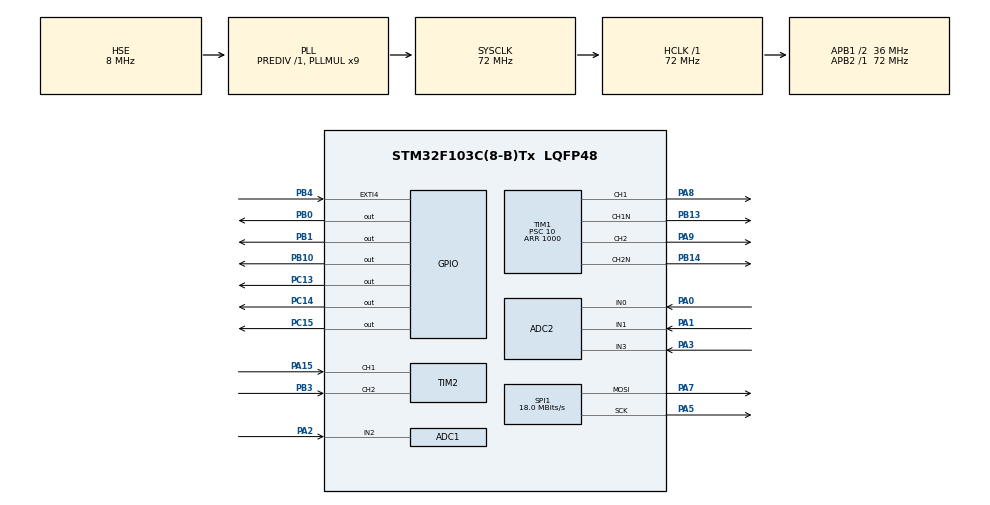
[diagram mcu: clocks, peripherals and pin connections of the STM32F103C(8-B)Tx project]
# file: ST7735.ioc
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ADC1.Channel-0\#ChannelRegularConversion=ADC_CHANNEL_2
ADC1.ExternalTrigConv=ADC_EXTERNALTRIGCONV_T1_CC3
ADC1.NbrOfConversionFlag=1
ADC1.Rank-0\#ChannelRegularConversion=1
ADC1.SamplingTime-0\#ChannelRegularConversion=ADC_SAMPLETIME_1CYCLE_5
ADC1.master=1
ADC2.Channel-0\#ChannelRegularConversion=ADC_CHANNEL_0
ADC2.Channel-1\#ChannelRegularConversion=ADC_CHANNEL_1
ADC2.Channel-2\#ChannelRegularConversion=ADC_CHANNEL_3
ADC2.ContinuousConvMode=DISABLE
ADC2.NbrOfConversion=3
ADC2.NbrOfConversionFlag=1
ADC2.Rank-0\#ChannelRegularConversion=1
ADC2.Rank-1\#ChannelRegularConversion=2
ADC2.Rank-2\#ChannelRegularConversion=3
ADC2.SamplingTime-0\#ChannelRegularConversion=ADC_SAMPLETIME_71CYCLES_5
ADC2.SamplingTime-1\#ChannelRegularConversion=ADC_SAMPLETIME_71CYCLES_5
ADC2.SamplingTime-2\#ChannelRegularConversion=ADC_SAMPLETIME_71CYCLES_5
Dma.ADC1.1.Direction=DMA_PERIPH_TO_MEMORY
Dma.ADC1.1.Instance=DMA1_Channel1
Dma.ADC1.1.MemDataAlignment=DMA_MDATAALIGN_HALFWORD
Dma.ADC1.1.MemInc=DMA_MINC_ENABLE
Dma.ADC1.1.Mode=DMA_CIRCULAR
Dma.ADC1.1.PeriphDataAlignment=DMA_PDATAALIGN_HALFWORD
Dma.ADC1.1.PeriphInc=DMA_PINC_DISABLE
Dma.ADC1.1.Priority=DMA_PRIORITY_LOW
Dma.Request0=SPI1_TX
Dma.Request1=ADC1
Dma.SPI1_TX.0.Direction=DMA_MEMORY_TO_PERIPH
Dma.SPI1_TX.0.Instance=DMA1_Channel3
Dma.SPI1_TX.0.MemDataAlignment=DMA_MDATAALIGN_HALFWORD
Dma.SPI1_TX.0.MemInc=DMA_MINC_ENABLE
Dma.SPI1_TX.0.Mode=DMA_NORMAL
Dma.SPI1_TX.0.PeriphDataAlignment=DMA_PDATAALIGN_HALFWORD
Dma.SPI1_TX.0.PeriphInc=DMA_PINC_DISABLE
Dma.SPI1_TX.0.Priority=DMA_PRIORITY_LOW
Mcu.Family=STM32F1
Mcu.Name=STM32F103C(8-B)Tx
Mcu.Package=LQFP48
NVIC.DMA1_Channel1_IRQn=true\:0\:0\:false\:false\:true\:false\:true\:true
NVIC.DMA1_Channel3_IRQn=true\:0\:0\:false\:false\:true\:false\:true\:true
NVIC.EXTI4_IRQn=true\:0\:0\:false\:false\:true\:true\:true\:true
NVIC.PriorityGroup=NVIC_PRIORITYGROUP_4
PA0-WKUP.Signal=ADCx_IN0
PA1.Signal=ADCx_IN1
PA13.Mode=Serial_Wire
PA13.Signal=SYS_JTMS-SWDIO
PA14.Mode=Serial_Wire
PA14.Signal=SYS_JTCK-SWCLK
PA15.Signal=S_TIM2_CH1_ETR
PA2.Signal=ADCx_IN2
PA3.Signal=ADCx_IN3
PA5.Mode=TX_Only_Simplex_Unidirect_Master
PA5.Signal=SPI1_SCK
PA7.Mode=TX_Only_Simplex_Unidirect_Master
PA7.Signal=SPI1_MOSI
PA8.Signal=S_TIM1_CH1
PA9.Signal=S_TIM1_CH2
PB0.Signal=GPIO_Output
PB1.Signal=GPIO_Output
PB10.Signal=GPIO_Output
PB13.Mode=PWM Generation1 CH1 CH1N
PB13.Signal=TIM1_CH1N
PB14.Mode=PWM Generation2 CH2 CH2N
PB14.Signal=TIM1_CH2N
PB3.Signal=S_TIM2_CH2
PB4.Signal=GPXTI4
PC13-TAMPER-RTC.Signal=GPIO_Output
PC14-OSC32_IN.Signal=GPIO_Output
PC15-OSC32_OUT.Signal=GPIO_Output
PD0-OSC_IN.Mode=HSE-External-Oscillator
PD0-OSC_IN.Signal=RCC_OSC_IN
PD1-OSC_OUT.Mode=HSE-External-Oscillator
PD1-OSC_OUT.Signal=RCC_OSC_OUT
ProjectManager.HeapSize=0x200
ProjectManager.StackSize=0x400
ProjectManager.TargetToolchain=MDK-ARM V5.32
RCC.ADCPresc=RCC_ADCPCLK2_DIV6
RCC.AHBFreq_Value=72000000
RCC.APB1CLKDivider=RCC_HCLK_DIV2
RCC.APB1Freq_Value=36000000
RCC.APB1TimFreq_Value=72000000
RCC.APB2Freq_Value=72000000
RCC.APB2TimFreq_Value=72000000
RCC.HCLKFreq_Value=72000000
RCC.PLLMUL=RCC_PLL_MUL9
RCC.PLLSourceVirtual=RCC_PLLSOURCE_HSE
RCC.SYSCLKFreq_VALUE=72000000
RCC.SYSCLKSource=RCC_SYSCLKSOURCE_PLLCLK
RCC.USBFreq_Value=72000000
SH.ADCx_IN0.0=ADC2_IN0,IN0
SH.ADCx_IN1.0=ADC2_IN1,IN1
SH.ADCx_IN2.0=ADC1_IN2,IN2
SH.ADCx_IN3.0=ADC2_IN3,IN3
SH.S_TIM1_CH1.0=TIM1_CH1,PWM Generation1 CH1 CH1N
SH.S_TIM1_CH2.0=TIM1_CH2,PWM Generation2 CH2 CH2N
SH.S_TIM2_CH1_ETR.0=TIM2_CH1,Encoder_Interface
SH.S_TIM2_CH2.0=TIM2_CH2,Encoder_Interface
SPI1.BaudRatePrescaler=SPI_BAUDRATEPRESCALER_4
SPI1.CalculateBaudRate=18.0 MBits/s
SPI1.DataSize=SPI_DATASIZE_8BIT
SPI1.Direction=SPI_DIRECTION_2LINES
SPI1.Mode=SPI_MODE_MASTER
SPI1.VirtualType=VM_MASTER
TIM1.Channel-PWM\ Generation1\ CH1\ CH1N=TIM_CHANNEL_1
TIM1.Channel-PWM\ Generation2\ CH2\ CH2N=TIM_CHANNEL_2
TIM1.Channel-PWM\ Generation3\ No\ Output=TIM_CHANNEL_3
TIM1.DeadTime=35
TIM1.OCMode_PWM-PWM\ Generation3\ No\ Output=TIM_OCMODE_PWM2
TIM1.Period=1000
TIM1.Prescaler=10
TIM1.Pulse-PWM\ Generation3\ No\ Output=10
TIM1.TIM_MasterOutputTrigger=TIM_TRGO_OC3REF
TIM2.EncoderMode=TIM_ENCODERMODE_TI12
VP_TIM1_VS_ClockSourceINT.Mode=Internal
VP_TIM1_VS_no_output3.Mode=PWM Generation3 No Output
board=custom

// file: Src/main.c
/* USER CODE BEGIN Header */
/**
  ******************************************************************************
  * @file           : main.c
  * @brief          : Main program body
  ******************************************************************************
  * @attention
  *
  * <h2><center>&copy; Copyright (c) 2020 STMicroelectronics.
  * All rights reserved.</center></h2>
  *
  * This software component is licensed by ST under BSD 3-Clause license,
  * the "License"; You may not use this file except in compliance with the
  * License. You may obtain a copy of the License at:
  *                        opensource.org/licenses/BSD-3-Clause
  *
  ******************************************************************************
  */
/* USER CODE END Header */
#include "main.h"

/* USER CODE BEGIN Includes */
#include <string.h>
#include "ST7735_SPI.h"
#include "fonts.h"
#include <stdio.h>
#include <math.h>
/* USER CODE END Includes */

ADC_HandleTypeDef hadc1;
ADC_HandleTypeDef hadc2;
DMA_HandleTypeDef hdma_adc1;

SPI_HandleTypeDef hspi1;
DMA_HandleTypeDef hdma_spi1_tx;

TIM_HandleTypeDef htim1;
TIM_HandleTypeDef htim2;

void SystemClock_Config(void);
static void MX_GPIO_Init(void);
static void MX_DMA_Init(void);
static void MX_SPI1_Init(void);
static void MX_ADC1_Init(void);
static void MX_ADC2_Init(void);
static void MX_TIM1_Init(void);
static void MX_TIM2_Init(void);

/* USER CODE BEGIN 0 */
#define ADC_MAX             4095.0f
#define VREF                3.3f

#define VIN_DIV_GAIN        11.0f
#define VOUT_DIV_GAIN       11.0f

#define CURRENT_GAIN        48.5f // 1.884
#define SHUNT_R             0.01f
#define CURRENT_OFFSET_V    0.0f

#define NTC_R_PULLUP        10000.0f
#define NTC_R0              3000.0f
#define NTC_BETA            3950.0f
#define NTC_T0_K            298.15f

#define SET_V_MIN           1.0f
#define SET_V_MAX           30.0f
#define SET_V_STEP          0.1f

#define ENC_COUNT_PER_STEP  4

#define BUCK_DUTY_MIN       0.02f
#define BUCK_DUTY_MAX       0.95f

typedef struct
{
    float vin;
    float vout;
    float current;
    float temp;
    float vset;
    uint8_t buck_on;
} BuckData_t;
static BuckData_t buck =
{
    .vin = 0,
    .vout = 0,
    .current = 0,
    .temp = 0,
    .vset = 5.0f,
    .buck_on = 0
};
static volatile uint16_t adc_current_raw = 0;
static volatile uint8_t adc_current_ready = 0;

static int16_t enc_last = 0;
static int32_t enc_acc = 0;

static uint32_t t_adc = 0;
static uint32_t t_lcd = 0;
static uint8_t buck_pwm_running = 0;
#define ADC1_DMA_LEN 32

static uint16_t adc1_dma_buf[ADC1_DMA_LEN];

static volatile uint8_t adc1_dma_ready = 0;
static void fmt_float(char *buf, float value, uint8_t dec, const char *unit)
{
    int32_t scale = 1;

    for(uint8_t i = 0; i < dec; i++)
        scale *= 10;

    int32_t v = (int32_t)(value * scale + (value >= 0 ? 0.5f : -0.5f));

    if(v < 0)
    {
        v = -v;
        if(dec == 1)
            sprintf(buf, "-%ld.%01ld%s", v / scale, v % scale, unit);
        else
            sprintf(buf, "-%ld.%02ld%s", v / scale, v % scale, unit);
    }
    else
    {
        if(dec == 1)
            sprintf(buf, "%ld.%01ld%s", v / scale, v % scale, unit);
        else
            sprintf(buf, "%ld.%02ld%s", v / scale, v % scale, unit);
    }
}
static uint16_t ADC_Read_Channel(ADC_HandleTypeDef *hadc, uint32_t channel)
{
    ADC_ChannelConfTypeDef sConfig = {0};

    sConfig.Channel = channel;
    sConfig.Rank = ADC_REGULAR_RANK_1;
    sConfig.SamplingTime = ADC_SAMPLETIME_239CYCLES_5;

    HAL_ADC_ConfigChannel(hadc, &sConfig);

    HAL_ADC_Start(hadc);
    HAL_ADC_PollForConversion(hadc, 10);
		uint32_t sum = 0;

    for(uint8_t i = 0; i < 5; i++)
    {
			sum += HAL_ADC_GetValue(hadc);
		}
    HAL_ADC_Stop(hadc);

    return (uint16_t)(sum / 5);
}

static float ADC_To_Voltage(uint16_t adc)
{
    return ((float)adc * VREF) / ADC_MAX;
}

static float Read_Vout(void)
{
    uint16_t raw = ADC_Read_Channel(&hadc2, ADC_CHANNEL_0);
    return ADC_To_Voltage(raw) * VOUT_DIV_GAIN;
}

static float Read_Vin(void)
{
    uint16_t raw = ADC_Read_Channel(&hadc2, ADC_CHANNEL_1);
    return ADC_To_Voltage(raw) * VIN_DIV_GAIN;
}

static float Read_NTC_Temp(void)
{
    uint16_t raw = ADC_Read_Channel(&hadc2, ADC_CHANNEL_3);

    float v = raw * 3.3f / 4095.0f;

    if(v < 0.01f) v = 0.01f;
    if(v > 3.29f) v = 3.29f;

    float r_ntc = 10000.0f * v / (3.3f - v);

    float temp_k = 1.0f /
    (
        (1.0f / 298.15f) +
        (logf(r_ntc / 10000.0f) / 3950.0f)
    );

    return temp_k - 273.15f;
}
static float Read_Current_From_DMA(void)
{
    uint32_t sum = 0;

    for(uint8_t i = 0; i < ADC1_DMA_LEN; i++)
    {
        sum += adc1_dma_buf[i];
    }

    float adc_avg = (float)sum / ADC1_DMA_LEN;
    float v_adc = adc_avg * 3.3f / 4095.0f;

    float current = (v_adc - CURRENT_OFFSET_V) / CURRENT_GAIN / SHUNT_R;

    if(current < 0.0f)
        current = 0.0f;

    return current;
}
void HAL_ADC_ConvHalfCpltCallback(ADC_HandleTypeDef *hadc)
{
    if(hadc->Instance == ADC1)
    {
        adc1_dma_ready = 1;
    }
}

void HAL_ADC_ConvCpltCallback(ADC_HandleTypeDef *hadc)
{
    if(hadc->Instance == ADC1)
    {
        adc1_dma_ready = 1;
    }
}
static float Read_Current_From_ADC1(void)
{
    float v_adc = ADC_To_Voltage(adc_current_raw);
    float v_shunt = v_adc / CURRENT_GAIN;
    return v_shunt / SHUNT_R;
}
static void Encoder_Update(void)
{
    int16_t enc_now = (int16_t)__HAL_TIM_GET_COUNTER(&htim2);
    int16_t diff = enc_now - enc_last;

    enc_last = enc_now;

    enc_acc += diff;

    while(enc_acc >= ENC_COUNT_PER_STEP)
    {
        enc_acc -= ENC_COUNT_PER_STEP;
        buck.vset += SET_V_STEP;

        if(buck.vset > SET_V_MAX)
            buck.vset = SET_V_MAX;
    }

    while(enc_acc <= -ENC_COUNT_PER_STEP)
    {
        enc_acc += ENC_COUNT_PER_STEP;
        buck.vset -= SET_V_STEP;

        if(buck.vset < SET_V_MIN)
            buck.vset = SET_V_MIN;
    }
}
void HAL_GPIO_EXTI_Callback(uint16_t GPIO_Pin)
{
    if(GPIO_Pin == GPIO_PIN_4)
    {
        buck.buck_on = !buck.buck_on;
    }
}
static void Buck_PWM_Start(void)
{
    if(buck_pwm_running)
        return;

    HAL_TIM_PWM_Start(&htim1, TIM_CHANNEL_1);
    HAL_TIMEx_PWMN_Start(&htim1, TIM_CHANNEL_1);

    buck_pwm_running = 1;
}

static void Buck_PWM_Stop(void)
{
    if(!buck_pwm_running)
        return;

    HAL_TIM_PWM_Stop(&htim1, TIM_CHANNEL_1);
    HAL_TIMEx_PWMN_Stop(&htim1, TIM_CHANNEL_1);

    buck_pwm_running = 0;
}

static void Boost_PWM_Stop(void)
{
    HAL_TIM_PWM_Stop(&htim1, TIM_CHANNEL_2);
    HAL_TIMEx_PWMN_Stop(&htim1, TIM_CHANNEL_2);

    __HAL_TIM_SET_COMPARE(&htim1, TIM_CHANNEL_2, 0);
}

static void Buck_SetDuty(float duty)
{
    if(duty < BUCK_DUTY_MIN)
        duty = BUCK_DUTY_MIN;

    if(duty > BUCK_DUTY_MAX)
        duty = BUCK_DUTY_MAX;

    uint32_t ccr = (uint32_t)(duty * (float)(999 + 1));

    __HAL_TIM_SET_COMPARE(&htim1, TIM_CHANNEL_1, ccr);
}
float duty = 0;
static void Buck_Control_OpenLoop(void)
{
    if(!buck.buck_on)
    {
				Buck_SetDuty(0);
        Buck_PWM_Stop();
        return;
    }

    if(buck.vin < 2.0f)
    {
        Buck_PWM_Stop();
        buck.buck_on = 0;
        return;
    }

    if(buck.current > 3.0f || buck.temp > 80.0f)
    {
        Buck_PWM_Stop();
        buck.buck_on = 0;
        return;
    }

    duty = buck.vset / buck.vin;

    Buck_SetDuty(duty);
}
static void Buck_Control_TestPWM(void)
{
    Buck_PWM_Start();
    Buck_SetDuty(0.30f);
}
static void LCD_DrawBase(void)
{
    ST7735_FillScreen(ST7735_BLACK);

    ST7735_WriteString(4, 2, "BUCK MODE", Font_7x10, ST7735_YELLOW, ST7735_BLACK);

    drawHline(0, 15, 160, ST7735_BLUE);

    ST7735_WriteString(4, 22, "Vin :", Font_7x10, ST7735_WHITE, ST7735_BLACK);
    ST7735_WriteString(4, 40, "Vout:", Font_7x10, ST7735_WHITE, ST7735_BLACK);
    ST7735_WriteString(4, 58, "Iout:", Font_7x10, ST7735_WHITE, ST7735_BLACK);
    ST7735_WriteString(4, 76, "Temp:", Font_7x10, ST7735_WHITE, ST7735_BLACK);
    ST7735_WriteString(4, 94, "Set :", Font_7x10, ST7735_WHITE, ST7735_BLACK);
    ST7735_WriteString(4, 112, "OUT :", Font_7x10, ST7735_WHITE, ST7735_BLACK);
}

static void LCD_PrintValue(uint16_t x, uint16_t y, char *str, uint16_t color)
{
    ST7735_FillRectangle(x, y, 90, 12, ST7735_BLACK);
    ST7735_WriteString(x, y, str, Font_7x10, color, ST7735_BLACK);
}

static void LCD_Update(void)
{
    char buf[24];

    fmt_float(buf, buck.vin, 2, " V");
    LCD_PrintValue(55, 22, buf, ST7735_CYAN);

    fmt_float(buf, buck.vout, 2, " V");
    LCD_PrintValue(55, 40, buf, ST7735_GREEN);

    fmt_float(buf, buck.current, 2, " A");
    LCD_PrintValue(55, 58, buf, ST7735_YELLOW);

    fmt_float(buf, buck.temp, 1, " C");
    LCD_PrintValue(55, 76, buf, ST7735_MAGENTA);

    fmt_float(buf, buck.vset, 1, " V");
    LCD_PrintValue(55, 94, buf, ST7735_WHITE);

    ST7735_FillRectangle(55, 112, 90, 12, ST7735_BLACK);

    if(buck.buck_on)
        ST7735_WriteString(55, 112, "ON", Font_7x10, ST7735_GREEN, ST7735_BLACK);
    else
        ST7735_WriteString(55, 112, "OFF", Font_7x10, ST7735_RED, ST7735_BLACK);
}
void Buck_UI_Init(void)
{

    HAL_ADCEx_Calibration_Start(&hadc1);
    HAL_ADCEx_Calibration_Start(&hadc2);

    HAL_TIM_Encoder_Start(&htim2, TIM_CHANNEL_ALL);

    enc_last = (int16_t)__HAL_TIM_GET_COUNTER(&htim2);

    Boost_PWM_Stop();
    Buck_PWM_Stop();
		HAL_TIM_PWM_Start(&htim1, TIM_CHANNEL_1);
		HAL_TIMEx_PWMN_Start(&htim1, TIM_CHANNEL_1);
    uint32_t arr = __HAL_TIM_GET_AUTORELOAD(&htim1);
    __HAL_TIM_SET_COMPARE(&htim1, TIM_CHANNEL_3, arr / 2);

    HAL_ADC_Start_DMA(&hadc1, (uint32_t*)adc1_dma_buf, ADC1_DMA_LEN);

		HAL_TIM_PWM_Start(&htim1, TIM_CHANNEL_3);

    ST7735_Init();
    ST7735_FillScreen(ST7735_BLACK);

    LCD_DrawBase();
    LCD_Update();

}

void Buck_UI_Loop(void)
{
    Encoder_Update();

    if(HAL_GetTick() - t_adc >= 50)
    {
        t_adc = HAL_GetTick();

        float vin_new = Read_Vin();
        float vout_new = Read_Vout();
        float temp_new = Read_NTC_Temp() + 32.4f;

        buck.vin = buck.vin * 0.8f + vin_new * 0.2f;
        buck.vout = buck.vout * 0.8f + vout_new * 0.2f;
        buck.temp = buck.temp * 0.8f + temp_new * 0.2f;

        if(adc1_dma_ready)
		{
				adc1_dma_ready = 0;

				float cur_new = Read_Current_From_DMA();

				buck.current = buck.current * 0.8f + cur_new * 0.2f;
		}

        Buck_Control_OpenLoop();
    }

    if(HAL_GetTick() - t_lcd >= 200)
    {
        t_lcd = HAL_GetTick();
        LCD_Update();
    }
}
/* USER CODE END 0 */

int main(void)
{

  /* MCU Configuration--------------------------------------------------------*/

  /* Reset of all peripherals, Initializes the Flash interface and the Systick. */
  HAL_Init();

  /* Configure the system clock */
  SystemClock_Config();

  /* Initialize all configured peripherals */
  MX_GPIO_Init();
  MX_DMA_Init();
  MX_SPI1_Init();
  MX_ADC1_Init();
  MX_ADC2_Init();
  MX_TIM1_Init();
  MX_TIM2_Init();
  /* USER CODE BEGIN 2 */
	Buck_UI_Init();
  /* USER CODE END 2 */

  /* Infinite loop */
  while (1)
  {

    /* USER CODE BEGIN 3 */
		Buck_UI_Loop();

  }
  /* USER CODE END 3 */
}

void SystemClock_Config(void)
{
  RCC_OscInitTypeDef RCC_OscInitStruct = {0};
  RCC_ClkInitTypeDef RCC_ClkInitStruct = {0};
  RCC_PeriphCLKInitTypeDef PeriphClkInit = {0};

  /** Initializes the RCC Oscillators according to the specified parameters
  * in the RCC_OscInitTypeDef structure.
  */
  RCC_OscInitStruct.OscillatorType = RCC_OSCILLATORTYPE_HSE;
  RCC_OscInitStruct.HSEState = RCC_HSE_ON;
  RCC_OscInitStruct.HSEPredivValue = RCC_HSE_PREDIV_DIV1;
  RCC_OscInitStruct.HSIState = RCC_HSI_ON;
  RCC_OscInitStruct.PLL.PLLState = RCC_PLL_ON;
  RCC_OscInitStruct.PLL.PLLSource = RCC_PLLSOURCE_HSE;
  RCC_OscInitStruct.PLL.PLLMUL = RCC_PLL_MUL9;
  if (HAL_RCC_OscConfig(&RCC_OscInitStruct) != HAL_OK)
  {
    Error_Handler();
  }

  /** Initializes the CPU, AHB and APB buses clocks
  */
  RCC_ClkInitStruct.ClockType = RCC_CLOCKTYPE_HCLK|RCC_CLOCKTYPE_SYSCLK
                              |RCC_CLOCKTYPE_PCLK1|RCC_CLOCKTYPE_PCLK2;
  RCC_ClkInitStruct.SYSCLKSource = RCC_SYSCLKSOURCE_PLLCLK;
  RCC_ClkInitStruct.AHBCLKDivider = RCC_SYSCLK_DIV1;
  RCC_ClkInitStruct.APB1CLKDivider = RCC_HCLK_DIV2;
  RCC_ClkInitStruct.APB2CLKDivider = RCC_HCLK_DIV1;

  if (HAL_RCC_ClockConfig(&RCC_ClkInitStruct, FLASH_LATENCY_2) != HAL_OK)
  {
    Error_Handler();
  }
  PeriphClkInit.PeriphClockSelection = RCC_PERIPHCLK_ADC;
  PeriphClkInit.AdcClockSelection = RCC_ADCPCLK2_DIV6;
  if (HAL_RCCEx_PeriphCLKConfig(&PeriphClkInit) != HAL_OK)
  {
    Error_Handler();
  }
}

static void MX_ADC1_Init(void)
{

  ADC_ChannelConfTypeDef sConfig = {0};

  /** Common config
  */
  hadc1.Instance = ADC1;
  hadc1.Init.ScanConvMode = ADC_SCAN_DISABLE;
  hadc1.Init.ContinuousConvMode = DISABLE;
  hadc1.Init.DiscontinuousConvMode = DISABLE;
  hadc1.Init.ExternalTrigConv = ADC_EXTERNALTRIGCONV_T1_CC3;
  hadc1.Init.DataAlign = ADC_DATAALIGN_RIGHT;
  hadc1.Init.NbrOfConversion = 1;
  if (HAL_ADC_Init(&hadc1) != HAL_OK)
  {
    Error_Handler();
  }

  /** Configure Regular Channel
  */
  sConfig.Channel = ADC_CHANNEL_2;
  sConfig.Rank = ADC_REGULAR_RANK_1;
  sConfig.SamplingTime = ADC_SAMPLETIME_28CYCLES_5;
  if (HAL_ADC_ConfigChannel(&hadc1, &sConfig) != HAL_OK)
  {
    Error_Handler();
  }

}

static void MX_ADC2_Init(void)
{

  ADC_ChannelConfTypeDef sConfig = {0};

  /** Common config
  */
  hadc2.Instance = ADC2;
  hadc2.Init.ScanConvMode = ADC_SCAN_DISABLE;
  hadc2.Init.ContinuousConvMode = DISABLE;
  hadc2.Init.DiscontinuousConvMode = DISABLE;
  hadc2.Init.ExternalTrigConv = ADC_SOFTWARE_START;
  hadc2.Init.DataAlign = ADC_DATAALIGN_RIGHT;
  hadc2.Init.NbrOfConversion = 1;
  if (HAL_ADC_Init(&hadc2) != HAL_OK)
  {
    Error_Handler();
  }

  /** Configure Regular Channel
  */
  sConfig.Channel = ADC_CHANNEL_0;
  sConfig.Rank = ADC_REGULAR_RANK_1;
  sConfig.SamplingTime = ADC_SAMPLETIME_71CYCLES_5;
  if (HAL_ADC_ConfigChannel(&hadc2, &sConfig) != HAL_OK)
  {
    Error_Handler();
  }

  /** Configure Regular Channel
  */
  sConfig.Channel = ADC_CHANNEL_1;
  sConfig.Rank = ADC_REGULAR_RANK_2;
  if (HAL_ADC_ConfigChannel(&hadc2, &sConfig) != HAL_OK)
  {
    Error_Handler();
  }

  /** Configure Regular Channel
  */
  sConfig.Channel = ADC_CHANNEL_3;
  sConfig.Rank = ADC_REGULAR_RANK_3;
  if (HAL_ADC_ConfigChannel(&hadc2, &sConfig) != HAL_OK)
  {
    Error_Handler();
  }

}

static void MX_SPI1_Init(void)
{

  /* SPI1 parameter configuration*/
  hspi1.Instance = SPI1;
  hspi1.Init.Mode = SPI_MODE_MASTER;
  hspi1.Init.Direction = SPI_DIRECTION_2LINES;
  hspi1.Init.DataSize = SPI_DATASIZE_8BIT;
  hspi1.Init.CLKPolarity = SPI_POLARITY_LOW;
  hspi1.Init.CLKPhase = SPI_PHASE_1EDGE;
  hspi1.Init.NSS = SPI_NSS_SOFT;
  hspi1.Init.BaudRatePrescaler = SPI_BAUDRATEPRESCALER_4;
  hspi1.Init.FirstBit = SPI_FIRSTBIT_MSB;
  hspi1.Init.TIMode = SPI_TIMODE_DISABLE;
  hspi1.Init.CRCCalculation = SPI_CRCCALCULATION_DISABLE;
  hspi1.Init.CRCPolynomial = 10;
  if (HAL_SPI_Init(&hspi1) != HAL_OK)
  {
    Error_Handler();
  }

}

static void MX_TIM1_Init(void)
{

  TIM_ClockConfigTypeDef sClockSourceConfig = {0};
  TIM_MasterConfigTypeDef sMasterConfig = {0};
  TIM_OC_InitTypeDef sConfigOC = {0};
  TIM_BreakDeadTimeConfigTypeDef sBreakDeadTimeConfig = {0};

  htim1.Instance = TIM1;
  htim1.Init.Prescaler = 5;
  htim1.Init.CounterMode = TIM_COUNTERMODE_UP;
  htim1.Init.Period = 1000;
  htim1.Init.ClockDivision = TIM_CLOCKDIVISION_DIV1;
  htim1.Init.RepetitionCounter = 0;
  htim1.Init.AutoReloadPreload = TIM_AUTORELOAD_PRELOAD_DISABLE;
  if (HAL_TIM_Base_Init(&htim1) != HAL_OK)
  {
    Error_Handler();
  }
  sClockSourceConfig.ClockSource = TIM_CLOCKSOURCE_INTERNAL;
  if (HAL_TIM_ConfigClockSource(&htim1, &sClockSourceConfig) != HAL_OK)
  {
    Error_Handler();
  }
  if (HAL_TIM_PWM_Init(&htim1) != HAL_OK)
  {
    Error_Handler();
  }
  sMasterConfig.MasterOutputTrigger = TIM_TRGO_OC3REF;
  sMasterConfig.MasterSlaveMode = TIM_MASTERSLAVEMODE_DISABLE;
  if (HAL_TIMEx_MasterConfigSynchronization(&htim1, &sMasterConfig) != HAL_OK)
  {
    Error_Handler();
  }
  sConfigOC.OCMode = TIM_OCMODE_PWM1;
  sConfigOC.Pulse = 0;
  sConfigOC.OCPolarity = TIM_OCPOLARITY_HIGH;
  sConfigOC.OCNPolarity = TIM_OCNPOLARITY_HIGH;
  sConfigOC.OCFastMode = TIM_OCFAST_DISABLE;
  sConfigOC.OCIdleState = TIM_OCIDLESTATE_RESET;
  sConfigOC.OCNIdleState = TIM_OCNIDLESTATE_RESET;
  if (HAL_TIM_PWM_ConfigChannel(&htim1, &sConfigOC, TIM_CHANNEL_1) != HAL_OK)
  {
    Error_Handler();
  }
  if (HAL_TIM_PWM_ConfigChannel(&htim1, &sConfigOC, TIM_CHANNEL_2) != HAL_OK)
  {
    Error_Handler();
  }
  sConfigOC.OCMode = TIM_OCMODE_PWM2;
  sConfigOC.Pulse = 10;
  if (HAL_TIM_PWM_ConfigChannel(&htim1, &sConfigOC, TIM_CHANNEL_3) != HAL_OK)
  {
    Error_Handler();
  }
  sBreakDeadTimeConfig.OffStateRunMode = TIM_OSSR_DISABLE;
  sBreakDeadTimeConfig.OffStateIDLEMode = TIM_OSSI_DISABLE;
  sBreakDeadTimeConfig.LockLevel = TIM_LOCKLEVEL_OFF;
  sBreakDeadTimeConfig.DeadTime = 35;
  sBreakDeadTimeConfig.BreakState = TIM_BREAK_DISABLE;
  sBreakDeadTimeConfig.BreakPolarity = TIM_BREAKPOLARITY_HIGH;
  sBreakDeadTimeConfig.AutomaticOutput = TIM_AUTOMATICOUTPUT_DISABLE;
  if (HAL_TIMEx_ConfigBreakDeadTime(&htim1, &sBreakDeadTimeConfig) != HAL_OK)
  {
    Error_Handler();
  }
  HAL_TIM_MspPostInit(&htim1);

}

static void MX_TIM2_Init(void)
{

  TIM_Encoder_InitTypeDef sConfig = {0};
  TIM_MasterConfigTypeDef sMasterConfig = {0};

  htim2.Instance = TIM2;
  htim2.Init.Prescaler = 0;
  htim2.Init.CounterMode = TIM_COUNTERMODE_UP;
  htim2.Init.Period = 65535;
  htim2.Init.ClockDivision = TIM_CLOCKDIVISION_DIV1;
  htim2.Init.AutoReloadPreload = TIM_AUTORELOAD_PRELOAD_DISABLE;
  sConfig.EncoderMode = TIM_ENCODERMODE_TI12;
  sConfig.IC1Polarity = TIM_ICPOLARITY_RISING;
  sConfig.IC1Selection = TIM_ICSELECTION_DIRECTTI;
  sConfig.IC1Prescaler = TIM_ICPSC_DIV1;
  sConfig.IC1Filter = 0;
  sConfig.IC2Polarity = TIM_ICPOLARITY_RISING;
  sConfig.IC2Selection = TIM_ICSELECTION_DIRECTTI;
  sConfig.IC2Prescaler = TIM_ICPSC_DIV1;
  sConfig.IC2Filter = 0;
  if (HAL_TIM_Encoder_Init(&htim2, &sConfig) != HAL_OK)
  {
    Error_Handler();
  }
  sMasterConfig.MasterOutputTrigger = TIM_TRGO_RESET;
  sMasterConfig.MasterSlaveMode = TIM_MASTERSLAVEMODE_DISABLE;
  if (HAL_TIMEx_MasterConfigSynchronization(&htim2, &sMasterConfig) != HAL_OK)
  {
    Error_Handler();
  }

}

static void MX_DMA_Init(void)
{

  /* DMA controller clock enable */
  __HAL_RCC_DMA1_CLK_ENABLE();

  /* DMA interrupt init */
  /* DMA1_Channel1_IRQn interrupt configuration */
  HAL_NVIC_SetPriority(DMA1_Channel1_IRQn, 0, 0);
  HAL_NVIC_EnableIRQ(DMA1_Channel1_IRQn);
  /* DMA1_Channel3_IRQn interrupt configuration */
  HAL_NVIC_SetPriority(DMA1_Channel3_IRQn, 0, 0);
  HAL_NVIC_EnableIRQ(DMA1_Channel3_IRQn);

}

static void MX_GPIO_Init(void)
{
  GPIO_InitTypeDef GPIO_InitStruct = {0};

  /* GPIO Ports Clock Enable */
  __HAL_RCC_GPIOC_CLK_ENABLE();
  __HAL_RCC_GPIOD_CLK_ENABLE();
  __HAL_RCC_GPIOA_CLK_ENABLE();
  __HAL_RCC_GPIOB_CLK_ENABLE();

  /*Configure GPIO pin Output Level */
  HAL_GPIO_WritePin(GPIOC, GPIO_PIN_13|GPIO_PIN_14|GPIO_PIN_15, GPIO_PIN_RESET);

  /*Configure GPIO pin Output Level */
  HAL_GPIO_WritePin(GPIOB, GPIO_PIN_0|GPIO_PIN_1|GPIO_PIN_10, GPIO_PIN_RESET);

  /*Configure GPIO pins : PC13 PC14 PC15 */
  GPIO_InitStruct.Pin = GPIO_PIN_13|GPIO_PIN_14|GPIO_PIN_15;
  GPIO_InitStruct.Mode = GPIO_MODE_OUTPUT_PP;
  GPIO_InitStruct.Pull = GPIO_NOPULL;
  GPIO_InitStruct.Speed = GPIO_SPEED_FREQ_LOW;
  HAL_GPIO_Init(GPIOC, &GPIO_InitStruct);

  /*Configure GPIO pins : PB0 PB1 PB10 */
  GPIO_InitStruct.Pin = GPIO_PIN_0|GPIO_PIN_1|GPIO_PIN_10;
  GPIO_InitStruct.Mode = GPIO_MODE_OUTPUT_PP;
  GPIO_InitStruct.Pull = GPIO_NOPULL;
  GPIO_InitStruct.Speed = GPIO_SPEED_FREQ_LOW;
  HAL_GPIO_Init(GPIOB, &GPIO_InitStruct);

  /*Configure GPIO pin : PB4 */
  GPIO_InitStruct.Pin = GPIO_PIN_4;
  GPIO_InitStruct.Mode = GPIO_MODE_IT_RISING;
  GPIO_InitStruct.Pull = GPIO_NOPULL;
  HAL_GPIO_Init(GPIOB, &GPIO_InitStruct);

  /* EXTI interrupt init*/
  HAL_NVIC_SetPriority(EXTI4_IRQn, 0, 0);
  HAL_NVIC_EnableIRQ(EXTI4_IRQn);

}

void Error_Handler(void)
{
}
